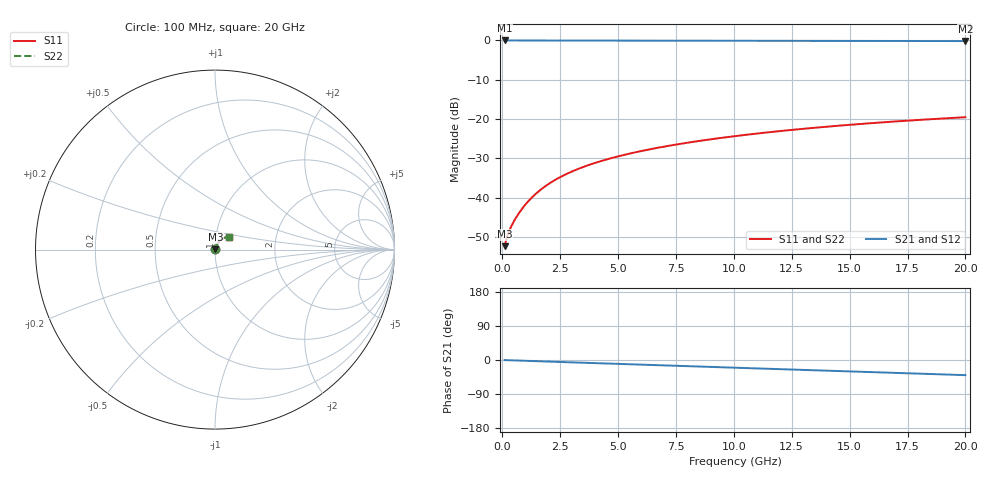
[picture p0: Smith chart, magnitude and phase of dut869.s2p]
! Touchstone file exported from HFSS 2026.1.0
!  File:  C:/ffzhzh/LocalFiles/Ansys_Project_Files/temp_train_TMRDL_869_1783157278_22436.aedt
!  Generated:  05:29:07 PM Jul  4, 2026
!  Design:  TMRDL
!  Project:  temp_train_TMRDL_869_1783157278_22436
! Variables:
!  h_bsmrdl = 2um
!  h_ox = 20um
!  h_rdl = 5um
!  h_sub = 80um
!  h_tmrdl = 5.1um
!  h_tsv = 80um
!  h_via = 3um
!  l_bsmrdl = 300um
!  l_sub = 1099.23um
!  l_tmrdl = 699.23um
!  m_sub = 200um
!  pitch = 35.54um
!  r_tsv = 6um
!  s_tmrdl = 10um
!  w_bsmrdl = 18um
!  w_sub = 500um
!  w_tmrdl = 26.87um
!  x_tsv_center1 = 712.665um
!  x_tsv_center2 = 1030.665um
!  x_tsv_center3 = 1756.765um
!  x_tsv_center4 = 2074.765um
!  x_tsv_center5 = 2800.865um
!  x_tsv_center6 = 3118.865um
# GHz S MA R 50.000000
! Terminal data exported
! Port[1] = TM_RDL1_1_T1
! Port[2] = TM_RDL1_1_T2
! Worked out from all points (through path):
!   200 points, 100 MHz to 20 GHz, reference 50 ohm
!   highest |S21| = -0.02 dB at 100 MHz (marker M1); lowest = -0.2 dB at 20 GHz (marker M2)
!   group delay of S21, straight-line fit = 5.53 ps
!   lowest |S11| = -52.4 dB at 100 MHz (marker M3), VSWR 1.00, Z = 50.2 + j0.114 ohm
!   |S11| at or under -10 dB: start of sweep to end of sweep
!   |S22| runs from -52.4 to -19.6 dB; largest |S21 - S12| = 2.1e-15
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0.1  0.002403 28.2  0.9979 -0.2  0.9979 -0.2  0.002403 28.2
! Gamma 0 0 0 0
! Port Impedance 50 0 50 0
0.2  0.003144 39.0  0.9976 -0.4  0.9976 -0.4  0.003144 39.0
0.3  0.003783 44.8  0.9973 -0.7  0.9973 -0.7  0.003783 44.8
0.4  0.004375 49.5  0.9972 -0.9  0.9972 -0.9  0.004375 49.5
0.5  0.004967 53.3  0.9971 -1.1  0.9971 -1.1  0.004967 53.3
0.7  0.006199 59.2  0.997 -1.5  0.997 -1.5  0.006199 59.2
0.9  0.007491 63.1  0.9968 -1.9  0.9968 -1.9  0.007491 63.1
1.1  0.00882 65.7  0.9967 -2.3  0.9967 -2.3  0.00882 65.7
1.3  0.01017 67.5  0.9965 -2.7  0.9965 -2.7  0.01017 67.5
1.7  0.01287 69.4  0.9962 -3.6  0.9962 -3.6  0.01287 69.4
2.2  0.01621 70.3  0.9956 -4.6  0.9956 -4.6  0.01621 70.3
2.8  0.02012 70.3  0.995 -5.8  0.995 -5.8  0.02012 70.3
3.5  0.0245 69.7  0.9942 -7.2  0.9942 -7.2  0.0245 69.7
4.2  0.02873 68.8  0.9934 -8.7  0.9934 -8.7  0.02873 68.8
5  0.0334 67.7  0.9925 -10.3  0.9925 -10.3  0.0334 67.7
5.9  0.03849 66.4  0.9915 -12.1  0.9915 -12.1  0.03849 66.4
6.8  0.04344 65.0  0.9906 -13.9  0.9906 -13.9  0.04344 65.0
8.3  0.05144 62.7  0.9893 -16.9  0.9893 -16.9  0.05144 62.7
10.1  0.06071 59.8  0.9877 -20.4  0.9877 -20.4  0.06072 59.8
13.4  0.07683 54.3  0.985 -27.0  0.985 -27.0  0.07683 54.2
16.7  0.09173 48.5  0.9824 -33.5  0.9824 -33.5  0.09174 48.5
20  0.1053 42.6  0.9799 -39.9  0.9799 -39.9  0.1053 42.6
